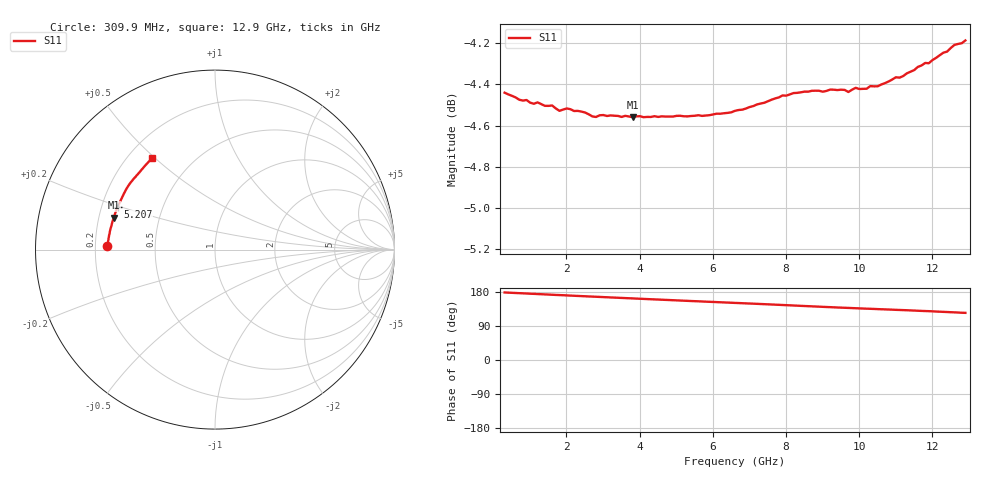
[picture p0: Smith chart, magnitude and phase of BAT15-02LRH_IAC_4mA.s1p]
! Infineon Technologies  Discrete & RF Semiconductors
! BAT15-02LRH
! IAC = 4 mA
! One-Port S-Parameters
# Hz  S  MA  R  50
!f  S11
!Hz  Mag  Ang
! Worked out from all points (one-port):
!   127 points, 309.9 MHz to 12.9 GHz, reference 50 ohm
!   lowest |S11| = -4.6 dB at 3.808 GHz (marker M1), VSWR 3.90, Z = 13.1 + j7.16 ohm
!   |S11| at or under -10 dB: nowhere
!   S11 on the Smith chart (normalised r, x): 309.9 MHz: 0.25, +0.01; 5.207 GHz: 0.27, +0.19; 12.9 GHz: 0.30, +0.49
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3.0985e8  0.5998 178.2
1.2094e9  0.5966 174.1
1.70915e9  0.5945 171.7
1.90905e9  0.5941 170.9
2.4088e9  0.5935 168.6
2.8086e9  0.5917 166.9
3.50825e9  0.5917 163.8
3.8081e9  0.5916 162.5
4.4078e9  0.5919 159.9
5.10745e9  0.5921 156.9
5.2074e9  0.5919 156.5
6.6067e9  0.5937 150.6
7.6062e9  0.5974 146.5
8.2059e9  0.5997 143.8
8.50575e9  0.6001 142.4
9.10545e9  0.6004 139.8
9.8051e9  0.6008 137.0
1.010495e10  0.6011 135.8
1.030485e10  0.602 135.1
1.050475e10  0.6019 134.3
1.14043e10  0.6069 130.9
1.16042e10  0.6085 130.0
1.18041e10  0.6099 129.2
1.190405e10  0.6098 128.9
1.2004e10  0.6108 128.4
1.270365e10  0.6164 125.3
1.28036e10  0.6166 124.7
1.290355e10  0.6176 124.4
